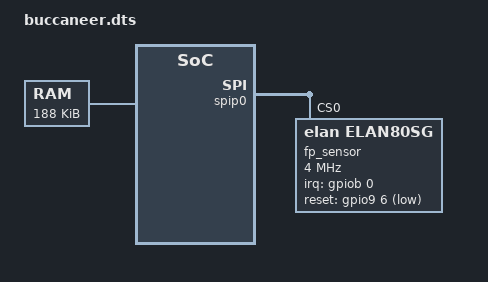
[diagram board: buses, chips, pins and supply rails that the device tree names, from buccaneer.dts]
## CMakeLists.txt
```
# Copyright 2025 The ChromiumOS Authors
# Use of this source code is governed by a BSD-style license that can be
# found in the LICENSE file.

zephyr_library_sources("../common.c")
zephyr_library_sources_ifdef(CONFIG_HELIPILOT_EC_RO_QUIRKS "src/ec_quirks.c")
zephyr_library_sources_ifdef(CONFIG_EC_HOST_CMD "src/fp_transport.c")
zephyr_library_sources("src/power.c")
```

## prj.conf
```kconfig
# Copyright 2025 The ChromiumOS Authors
# Use of this source code is governed by a BSD-style license that can be
# found in the LICENSE file.

CONFIG_BASEBOARD_HELIPILOT=y

# System Controller drivers
CONFIG_SYSCON=y
CONFIG_SYS_CLOCK_HW_CYCLES_PER_SEC=16000000

# NPCX Flash driver options
CONFIG_FLASH_JESD216_API=y
CONFIG_FLASH_EX_OP_ENABLED=y
CONFIG_CROS_FLASH_NPCX_ERASE_SIZE=0x10000

# NPCX entropy driver options
CONFIG_ENTROPY_GENERATOR=y
CONFIG_ENTROPY_NPCX_DRBG_RESEED_INTERVAL=4294967295

# Set security strength to 256b
CONFIG_ENTROPY_NPCX_DRBG_SECURITY_STRENGTH_256B=y

# Enable OTP Key
CONFIG_NPCX_OTP_KEY=y

# Watchdog
CONFIG_PLATFORM_EC_WATCHDOG_PERIOD_MS=10000
CONFIG_WDT_NPCX_WARNING_LEADING_TIME_MS=3000

# RTC
CONFIG_PLATFORM_EC_RTC=y

# Disable flash shell for helipilot to save space
CONFIG_FLASH_SHELL=n

# Disable math util to save space
CONFIG_PLATFORM_EC_MATH_UTIL=n

# Disable assert to save space
CONFIG_PLATFORM_EC_DEBUG_ASSERT=n

# Host Commands
CONFIG_EC_HOST_CMD_INITIALIZE_AT_BOOT=n
CONFIG_EC_HOST_CMD_HANDLER_TX_BUFFER_SIZE=549
CONFIG_EC_HOST_CMD_HANDLER_RX_BUFFER_SIZE=544
CONFIG_UART_ASYNC_API=y
CONFIG_UART_NPCX_USE_MDMA=y

# When HW_STACK_PROTECTION is enabled, the NULL pointer exception page size
# (CONFIG_CORTEX_M_NULL_POINTER_EXCEPTION_PAGE_SIZE)
# must have size greater or equal ARM_MPU_REGION_MIN_ALIGN_AND_SIZE (0x80).
# However that MPU configuration prevents access to the NPCX ROM functions at
# address 0x40-x0x5c.
#
# In order to keep HW_STACK_PROTECTION enabled, enable NULL pointer exception
# detection via the Data Watchpoint and Trace (DWT) unit.
CONFIG_NULL_POINTER_EXCEPTION_DETECTION_DWT=y

# Helipilot specific CROS EC sizes
CONFIG_CROS_EC_RO_SIZE=0x1F000

# b/427468960#comment10: sysworkq task overflows when handling Host Commands
# HC 0x0122 (EC_CMD_ADD_ENTROPY) and HC 0x0406 (EC_CMD_FP_CONTEXT)
CONFIG_SYSTEM_WORKQUEUE_STACK_SIZE=2048

# Enable runtime power management for devices
# Used in ec_host_cmd_backend_shi_npcx.c. Also see
# https://github.com/zephyrproject-rtos/zephyr/pull/92567.
CONFIG_PM_DEVICE_RUNTIME=y

# Enable NPCX RAM Lock
CONFIG_NPCX_RAM_LOCK=y

# Enable SHI shim initialization via SYS_INIT for earlier execution,
# which is required to prevent a race condition with the host command
# EC_CMD_RWSIG_ACTION (0x011d) during boot/sysjump. See b/427468960.
CONFIG_NPCX_SHI_SHIM_INIT_WITH_SYS_INIT=y
```

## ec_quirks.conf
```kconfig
# Copyright 2024 The ChromiumOS Authors
# Use of this source code is governed by a BSD-style license that can be
# found in the LICENSE file.

CONFIG_HELIPILOT_EC_RO_QUIRKS=y
```

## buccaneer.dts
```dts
/* Copyright 2025 The ChromiumOS Authors.
 * Use of this source code is governed by a BSD-style license that can be
 * found in the LICENSE file.
 */

#include "soc.dtsi"
#include "gpio.dtsi"
#include "buccaneer/rwsig.dtsi"

#include <cros/integrated_fwid.dtsi>

#define ELAN80SG_COMMON_IMAGE_PROPS \
    width = <80>; \
    height = <80>; \
	bits-per-pixel = <14>; \
	frame-size = <12800>; \
    v4l2-pixel-format = "V4L2_PIX_FMT_GREY";

/ {
	chosen {
		cros-fp,fingerprint-sensor = &fp_sensor;
		zephyr,host-cmd-shi-backend = &shi0;
		zephyr,host-cmd-uart-backend = &uart2;
		zephyr,shell-uart = &uart1;
		cros,rtc = &mtc;
	};

	binman {
		pad-byte = <0xff>;

		/* Total Flash size is 1 MB. */
		size = <0x100000>;

		/* First 128 kB (uniform 4 kB sectors) used for RO */
		wp-ro {
			offset = <0x0>;
			size = <0x20000>;
			ec-ro {
				pad-byte = <0xff>;
			};
		};

		/* Two rollback sections (64 kB each) */
		rollback0 {
			offset = <0x20000>;
			size = <0x10000>;
			type = "blob";
			filename = "../build-rw/rollback_initial_data.bin";
		};

		rollback1 {
			offset = <0x30000>;
			size = <0x10000>;
			type = "blob";
			filename = "../build-rw/rollback_initial_data.bin";
		};

		/* 320 kB used for RW - buccaneer ECOS flash size */
		ec-rw {
			offset = <0x40000>;
			size = <0x50000>;
			rw-fw {
				/*
				 * Clang doesn't emit STT_SECTION symbols (also
				 * called 'section symbols'), so 'rom_start'
				 * symbol is not available. Fortunately, Zephyr
				 * linker scripts provide '__rom_start_address'
				 * symbol which points to the beginning of
				 * 'rom_start' section.
				 */
				zephyr-rw {
					elf-base-sym = "__rom_start_address";
				};
			};
		};
	};
};

/*
 *           ┌──────────────┐
 *           │   Reserved   │
 *           │     4KB      │
 *           ├──────────────┤0x200D7000
 *           │              │
 *           │              │
 *           │   Data RAM   │
 *           │     188KB    │
 *           │              │
 *           │              │
 * 0x100A8000├──────────────┤0x200A8000
 *           │              │
 *           │              │
 *           │              │
 *           │              │
 *           │   Code RAM   │
 *           │     320KB    │
 *           │              │
 *           │              │
 *           │              │
 *           │              │
 *           │              │
 * 0x10058000└──────────────┘
 */
&flash0 {
    reg = <0x10058000 DT_SIZE_K(320)>;
};

/delete-node/ &sram0;

/ {
	sram0: memory@200a8000 {
		compatible = "mmio-sram";
		reg = <0x200A8000 DT_SIZE_K(188)>;
	};
};

&qspi_fiu0 {
	partitions {
		compatible = "fixed-partitions";
		#address-cells = <1>;
		#size-cells = <1>;

		/* First rollback section */
		rollback0: partition@20000 {
			label = "rollback0";
			reg = <0x20000 DT_SIZE_K(64)>;
		};

		/* Second rollback section */
		rollback1: partition@30000 {
			label = "rollback1";
			reg = <0x30000 DT_SIZE_K(64)>;
		};
	};
};

&spip0 {
	fp_sensor: elan80sg@0 {
		compatible = "elan,elan80sg";
		reg = <0>;
		spi-max-frequency = <4000000>;

		configs {
			compatible = "fingerprint-image-frame-params";
			config0 {
				ELAN80SG_COMMON_IMAGE_PROPS
				capture-type = "FINGERPRINT_CAPTURE_TYPE_VENDOR_FORMAT";
			};
			config1 {
				ELAN80SG_COMMON_IMAGE_PROPS
				capture-type = "FINGERPRINT_CAPTURE_TYPE_SIMPLE_IMAGE";
			};
			config2 {
				ELAN80SG_COMMON_IMAGE_PROPS
				capture-type = "FINGERPRINT_CAPTURE_TYPE_PATTERN0";
			};
			config3 {
				ELAN80SG_COMMON_IMAGE_PROPS
				capture-type = "FINGERPRINT_CAPTURE_TYPE_PATTERN1";
			};
			config4 {
				ELAN80SG_COMMON_IMAGE_PROPS
				capture-type = "FINGERPRINT_CAPTURE_TYPE_QUALITY_TEST";
			};
			config5 {
				ELAN80SG_COMMON_IMAGE_PROPS
				capture-type = "FINGERPRINT_CAPTURE_TYPE_RESET_TEST";
			};
		};

		irq-gpios = <&gpiob 0 GPIO_ACTIVE_HIGH>;
		reset-gpios = <&gpio9 6 GPIO_ACTIVE_LOW>;
	};
};
```

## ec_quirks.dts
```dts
/* Copyright 2023 The ChromiumOS Authors.
 * Use of this source code is governed by a BSD-style license that can be
 * found in the LICENSE file.
 */

/*
 * Old FPMCU RO (EC based) uses TIM2 to measure system uptime and schedule
 * tasks. Zephyr uses different counter for these purposes, but we still want to
 * enable TIM2, because FPMCU RO doesn't stop the counter. If the counter is
 * enabled, Zephyr will perform initialization, so we won't get any unexpected
 * interrupts.
 */
/*
 *&timers2 {
 *	status = "okay";
 *	counter {
 *		status = "okay";
 *	};
 *};
 */
```

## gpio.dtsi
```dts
/* Copyright 2025 The ChromiumOS Authors.
 * Use of this source code is governed by a BSD-style license that can be
 * found in the LICENSE file.
 */

#include <dt-bindings/gpio_defines.h>

/ {
	aliases {
		gpio-wp = &ec_wp_l;
	};

	named-gpios {
		compatible = "named-gpios";

		ap_ec_int_l {
			gpios = <&gpioa 7 GPIO_OUTPUT_HIGH>;
			enum-name = "GPIO_EC_INT_L";
		};

		ec_wp_l: write-protect {
			gpios = <&gpioa 4 GPIO_INPUT>;
		};

		fp_sensor_sel: fp_sensor_sel {
			gpios = <&gpio4 4 GPIO_INPUT>;
		};

		slp_l: slp_l {
			gpios = <&gpioa 0 GPIO_INPUT>;
		};

		transport_sel: transport_sel {
			gpios = <&gpio4 3 GPIO_INPUT>;
		};

		user_pres_l {
			gpios = <&gpioa 5 GPIO_ODR_HIGH>;
		};

		/* Used to the transport layer detection at the beginning of the
		 * boot.
		 */
		div_highside: div_highside {
			gpios = <&gpio9 3 GPIO_OUTPUT_HIGH>;
		};

		/* unimplemented GPIOs */
		entering-rw {
			enum-name = "GPIO_ENTERING_RW";
		};
	};
};
```

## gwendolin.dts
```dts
/* Copyright 2025 The ChromiumOS Authors.
 * Use of this source code is governed by a BSD-style license that can be
 * found in the LICENSE file.
 */

#include "gpio.dtsi"
#include "gwendolin/rwsig.dtsi"
#include "soc.dtsi"

#include <cros/integrated_fwid.dtsi>

/ {
	chosen {
		cros-fp,fingerprint-sensor = &fp_sensor;
		zephyr,host-cmd-shi-backend = &shi0;
		zephyr,host-cmd-uart-backend = &uart2;
		zephyr,shell-uart = &uart1;
		cros,rtc = &mtc;
	};

	binman {
		pad-byte = <0xff>;

		/* Total Flash size is 1 MB. */
		size = <0x100000>;

		/* First 128 kB (uniform 4 kB sectors) used for RO */
		wp-ro {
			offset = <0x0>;
			size = <0x20000>;
			ec-ro {
				pad-byte = <0xff>;
			};
		};

		/* Two rollback sections (64 kB each) */
		rollback0 {
			offset = <0x20000>;
			size = <0x10000>;
			type = "blob";
			filename = "../build-rw/rollback_initial_data.bin";
		};

		rollback1 {
			offset = <0x30000>;
			size = <0x10000>;
			type = "blob";
			filename = "../build-rw/rollback_initial_data.bin";
		};

		/* 256 kB used for RW - gwendolin ECOS flash size */
		ec-rw {
			offset = <0x40000>;
			size = <0x40000>;
			rw-fw {
				/*
				 * Clang doesn't emit STT_SECTION symbols (also
				 * called 'section symbols'), so 'rom_start'
				 * symbol is not available. Fortunately, Zephyr
				 * linker scripts provide '__rom_start_address'
				 * symbol which points to the beginning of
				 * 'rom_start' section.
				 */
				zephyr-rw {
					elf-base-sym = "__rom_start_address";
				};
			};
		};
	};
};

/*
 *           ┌──────────────┐
 *           │   Reserved   │
 *           │     4KB      │
 *           ├──────────────┤0x200D7000
 *           │              │
 *           │              │
 *           │   Data RAM   │
 *           │     252KB    │
 *           │              │
 *           │              │
 * 0x10098000├──────────────┤0x20098000
 *           │              │
 *           │              │
 *           │              │
 *           │              │
 *           │   Code RAM   │
 *           │     256KB    │
 *           │              │
 *           │              │
 *           │              │
 *           │              │
 *           │              │
 * 0x10058000└──────────────┘
 */
&flash0 {
    reg = <0x10058000 DT_SIZE_K(256)>;
};

/delete-node/ &sram0;

/ {
	sram0: memory@20098000{
		compatible = "mmio-sram";
		reg = <0x20098000 DT_SIZE_K(252)>;
	};
};

&qspi_fiu0 {
	partitions {
		compatible = "fixed-partitions";
		#address-cells = <1>;
		#size-cells = <1>;

		/* First rollback section */
		rollback0: partition@20000 {
			label = "rollback0";
			reg = <0x20000 DT_SIZE_K(64)>;
		};

		/* Second rollback section */
		rollback1: partition@30000 {
			label = "rollback1";
			reg = <0x30000 DT_SIZE_K(64)>;
		};
	};
};

&spip0 {
	fp_sensor: egis630@0 {
		compatible = "egis,egis630";
		reg = <0>;
		spi-max-frequency = <4000000>;

		width = <80>;
		height = <64>;
		bits-per-pixel = <8>;
		v4l2-pixel-format = "V4L2_PIX_FMT_GREY";

		irq-gpios = <&gpiob 0 GPIO_ACTIVE_HIGH>;
		reset-gpios = <&gpio9 6 GPIO_ACTIVE_LOW>;
	};
};
```

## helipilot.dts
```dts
/* Copyright 2025 The ChromiumOS Authors.
 * Use of this source code is governed by a BSD-style license that can be
 * found in the LICENSE file.
 */

#include "soc.dtsi"
#include "gpio.dtsi"
#include "rwsig.dtsi"

#include <cros/integrated_fwid.dtsi>

#define FPC1025_BASE_IMAGE_PROPS \
    width = <160>; \
    height = <160>; \
    bits-per-pixel = <8>; \
    v4l2-pixel-format = "V4L2_PIX_FMT_GREY";

#define FPC1025_RAW_IMAGE_PROPS \
    FPC1025_BASE_IMAGE_PROPS \
    /*
     * Sensor raw image size
     *
     * Value from fpc_bep_image_get_buffer_size(): (160*160)+660
     */ \
    frame-size = <26260>;

#define FPC1025_REAL_IMAGE_PROPS \
    FPC1025_BASE_IMAGE_PROPS \
    /* Sensor real image size: (160*160) */ \
    frame-size = <25600>;

/ {
	chosen {
		cros-fp,fingerprint-sensor = &fp_sensor;
		zephyr,host-cmd-shi-backend = &shi0;
		zephyr,host-cmd-uart-backend = &uart2;
		zephyr,shell-uart = &uart1;
		cros,rtc = &mtc;
	};

	binman {
		pad-byte = <0xff>;

		/* Total Flash size is 1 MB. */
		size = <0x100000>;

		/* First 128 kB (uniform 4 kB sectors) used for RO */
		wp-ro {
			offset = <0x0>;
			size = <0x20000>;
			ec-ro {
				pad-byte = <0xff>;
			};
		};

		/* Two rollback sections (64 kB each) */
		rollback0 {
			offset = <0x20000>;
			size = <0x10000>;
			type = "blob";
			filename = "../build-rw/rollback_initial_data.bin";
		};

		rollback1 {
			offset = <0x30000>;
			size = <0x10000>;
			type = "blob";
			filename = "../build-rw/rollback_initial_data.bin";
		};

		/* 320 kB used for RW - helipilot ECOS flash size */
		ec-rw {
			offset = <0x40000>;
			size = <0x50000>;
			rw-fw {
				/*
				 * Clang doesn't emit STT_SECTION symbols (also
				 * called 'section symbols'), so 'rom_start'
				 * symbol is not available. Fortunately, Zephyr
				 * linker scripts provide '__rom_start_address'
				 * symbol which points to the beginning of
				 * 'rom_start' section.
				 */
				zephyr-rw {
					elf-base-sym = "__rom_start_address";
				};
			};
		};
	};
};

/*
 * Due to a rounding bug in ECOS helipilot, the size of RW now baked into
 * RO is 320 kB (0x50000). This change updates the code RAM to 320 kB
 * correspondingly, freeing up additional data memory. This results in the
 * following memory map for Zephyr Helipilot:
 *
 *           ┌──────────────┐
 *           │   Reserved   │
 *           │     4KB      │
 *           ├──────────────┤0x200D7000
 *           │              │
 *           │              │
 *           │   Data RAM   │
 *           │     188KB    │
 *           │              │
 *           │              │
 * 0x100A8000├──────────────┤0x200A8000
 *           │              │
 *           │              │
 *           │              │
 *           │              │
 *           │   Code RAM   │
 *           │     320KB    │
 *           │              │
 *           │              │
 *           │              │
 *           │              │
 *           │              │
 * 0x10058000└──────────────┘
 */
&flash0 {
    reg = <0x10058000 DT_SIZE_K(320)>;
};

/delete-node/ &sram0;

/ {
	sram0: memory@200a8000 {
		compatible = "mmio-sram";
		reg = <0x200A8000 DT_SIZE_K(188)>;
	};
};

&qspi_fiu0 {
	partitions {
		compatible = "fixed-partitions";
		#address-cells = <1>;
		#size-cells = <1>;

		/* First rollback section */
		rollback0: partition@20000 {
			label = "rollback0";
			reg = <0x20000 DT_SIZE_K(64)>;
		};

		/* Second rollback section */
		rollback1: partition@30000 {
			label = "rollback1";
			reg = <0x30000 DT_SIZE_K(64)>;
		};
	};
};

&spip0 {
	fp_sensor: fpc1025@0 {
		compatible = "fpc,fpc1025";
		reg = <0>;
		spi-max-frequency = <4000000>;


		configs {
			compatible = "fingerprint-image-frame-params";
			config0 {
				FPC1025_RAW_IMAGE_PROPS
				capture-type = "FINGERPRINT_CAPTURE_TYPE_VENDOR_FORMAT";
			};
			config1 {
				FPC1025_REAL_IMAGE_PROPS
				capture-type = "FINGERPRINT_CAPTURE_TYPE_SIMPLE_IMAGE";
			};
			config2 {
				FPC1025_REAL_IMAGE_PROPS
				capture-type = "FINGERPRINT_CAPTURE_TYPE_PATTERN0";
			};
			config3 {
				FPC1025_REAL_IMAGE_PROPS
				capture-type = "FINGERPRINT_CAPTURE_TYPE_PATTERN1";
			};
			config4 {
				FPC1025_RAW_IMAGE_PROPS
				capture-type = "FINGERPRINT_CAPTURE_TYPE_QUALITY_TEST";
			};
			config5 {
				FPC1025_REAL_IMAGE_PROPS
				capture-type = "FINGERPRINT_CAPTURE_TYPE_RESET_TEST";
			};
		};

		irq-gpios = <&gpiob 0 GPIO_ACTIVE_HIGH>;
		reset-gpios = <&gpio9 6 GPIO_ACTIVE_LOW>;
	};
};
```

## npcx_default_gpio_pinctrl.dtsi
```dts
/* Copyright 2025 The ChromiumOS Authors
 * Use of this source code is governed by a BSD-style license that can be
 * found in the LICENSE file.
 */

/* Adds the &alt1_no_lpc_espi setting over the NPCX9 default setting. */
&{/def-io-conf-list} {
	pinmux = <&alt0_gpio_no_spip
		  &alt0_gpio_no_fpip
		  &alt1_no_pwrgd
		  &alt1_no_lpc_espi
		  &alta_no_peci_en
		  &altd_npsl_in1_sl
		  &altd_npsl_in2_sl
		  &altd_psl_in3_sl
		  &altd_psl_in4_sl
		  &alt7_no_ksi0_sl
		  &alt7_no_ksi1_sl
		  &alt7_no_ksi2_sl
		  &alt7_no_ksi3_sl
		  &alt7_no_ksi4_sl
		  &alt7_no_ksi5_sl
		  &alt7_no_ksi6_sl
		  &alt7_no_ksi7_sl
		  &alt8_no_kso00_sl
		  &alt8_no_kso01_sl
		  &alt8_no_kso02_sl
		  &alt8_no_kso03_sl
		  &alt8_no_kso04_sl
		  &alt8_no_kso05_sl
		  &alt8_no_kso06_sl
		  &alt8_no_kso07_sl
		  &alt9_no_kso08_sl
		  &alt9_no_kso09_sl
		  &alt9_no_kso10_sl
		  &alt9_no_kso11_sl
		  &alt9_no_kso12_sl
		  &alt9_no_kso13_sl
		  &alt9_no_kso14_sl
		  &alt9_no_kso15_sl
		  &alta_no_kso16_sl
		  &alta_no_kso17_sl
		  &altg_psl_gpo_sl>;
};
```

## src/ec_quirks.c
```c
/* Copyright 2025 The ChromiumOS Authors
 * Use of this source code is governed by a BSD-style license that can be
 * found in the LICENSE file.
 */

#include "hooks.h"

#include <zephyr/devicetree.h>
#include <zephyr/drivers/clock_control.h>

#define ITIM5_NODE DT_NODELABEL(itim5)

extern void arm_core_mpu_disable(void);

/* TODO(b/394346384): De-duplicate with bloonchipper code */
static void prepare_for_sysjump_to_ec(void)
{
	/*
	 * When HW_STACK_PROTECTION is enabled on ARMv7-M microcontroller then
	 * the last 64 bytes of the stack is protected to detect stack
	 * overflows. Size of protected region must be greater than exception
	 * frame, so CPU won't overwrite some other data when exception occurs.
	 *
	 * EC uses different RAM layout than Zephyr, so it's possible that after
	 * sysjump some variables are stored in the protected region. EC also
	 * reconfigures MPU late (Zephyr does it in reset handler).
	 *
	 * Disable MPU protection to avoid problems after sysjump to EC.
	 */
	arm_core_mpu_disable();
}
DECLARE_HOOK(HOOK_SYSJUMP, prepare_for_sysjump_to_ec, HOOK_PRIO_LAST);

/*
 * Old FPMCU RO (EC based) uses ITIM32-5 as a watchdog warning to save the
 * CPU state before the real watchdog resets it. Zephyr uses different counter
 * for these purposes, so disable it.
 */
static const struct npcx_clk_cfg itim5_clk_cfg = {
	.bus = DT_CLOCKS_CELL_BY_IDX(ITIM5_NODE, 0, bus),
	.ctrl = DT_CLOCKS_CELL_BY_IDX(ITIM5_NODE, 0, ctl),
	.bit = DT_CLOCKS_CELL_BY_IDX(ITIM5_NODE, 0, bit),
};

static int disable_itim5(void)
{
	static struct itim32_reg *const itim5_reg =
		(struct itim32_reg *)DT_REG_ADDR(ITIM5_NODE);

	irq_disable(DT_IRQN(ITIM5_NODE));

	itim5_reg->ITCTS32 &= ~BIT(NPCX_ITCTSXX_ITEN);

	clock_control_off(DEVICE_DT_GET(NPCX_CLK_CTRL_NODE),
			  (clock_control_subsys_t)&itim5_clk_cfg);

	return 0;
}
SYS_INIT(disable_itim5, POST_KERNEL, CONFIG_APPLICATION_INIT_PRIORITY);
```

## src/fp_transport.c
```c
/* Copyright 2025 The ChromiumOS Authors
 * Use of this source code is governed by a BSD-style license that can be
 * found in the LICENSE file.
 */

#include <zephyr/device.h>
#include <zephyr/devicetree.h>
#include <zephyr/drivers/gpio.h>
#include <zephyr/init.h>
#include <zephyr/kernel.h>
#include <zephyr/mgmt/ec_host_cmd/ec_host_cmd.h>
#include <zephyr/pm/device.h>

#include <ec_commands.h>
#include <fpsensor/fpsensor_detect.h>
#include <gpio_signal.h>

extern void shi_enable(void);

#if !defined(CONFIG_EC_HOST_CMD_BACKEND_SHI) && \
	!defined(CONFIG_EC_HOST_CMD_BACKEND_UART)
BUILD_ASSERT(0, "Both backends are not enabled");
#endif

#ifndef CONFIG_EC_HOST_CMD_INITIALIZE_AT_BOOT
test_export_static int fp_transport_init(void)
{
#ifdef CONFIG_EC_HOST_CMD_BACKEND_UART
	const struct device *const dev_uart =
		DEVICE_DT_GET(DT_CHOSEN(zephyr_host_cmd_uart_backend));
#endif /* CONFIG_EC_HOST_CMD_BACKEND_UART */
#ifdef CONFIG_EC_HOST_CMD_BACKEND_SHI
	const struct device *const dev_shi =
		DEVICE_DT_GET(DT_CHOSEN(zephyr_host_cmd_shi_backend));
#endif /* CONFIG_EC_HOST_CMD_BACKEND_SPI */

	switch (get_fp_transport_type()) {
	case FP_TRANSPORT_TYPE_UART:
#ifdef CONFIG_EC_HOST_CMD_BACKEND_SHI
		pm_device_action_run(dev_shi, PM_DEVICE_ACTION_SUSPEND);
#endif /* CONFIG_EC_HOST_CMD_BACKEND_SHI */
#ifdef CONFIG_EC_HOST_CMD_BACKEND_UART
		ec_host_cmd_init(ec_host_cmd_backend_get_uart(dev_uart));
#endif /* CONFIG_EC_HOST_CMD_BACKEND_UART */

		break;
	case FP_TRANSPORT_TYPE_SPI:
#ifdef CONFIG_EC_HOST_CMD_BACKEND_UART
		pm_device_action_run(dev_uart, PM_DEVICE_ACTION_SUSPEND);
#endif /* CONFIG_EC_HOST_CMD_BACKEND_UART */
#ifdef CONFIG_EC_HOST_CMD_BACKEND_SHI
		ec_host_cmd_init(ec_host_cmd_backend_get_shi_npcx());
		shi_enable();
#endif /* CONFIG_EC_HOST_CMD_BACKEND_SHI */

		break;
	default:
		break;
	}

	return 0;
}
SYS_INIT(fp_transport_init, POST_KERNEL, CONFIG_EC_HOST_CMD_INIT_PRIORITY);
#endif
```

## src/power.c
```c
/* Copyright 2025 The ChromiumOS Authors
 * Use of this source code is governed by a BSD-style license that can be
 * found in the LICENSE file.
 */

#include "fpsensor/fpsensor_detect.h"
#include "hooks.h"

#include <zephyr/device.h>
#include <zephyr/devicetree.h>
#include <zephyr/drivers/gpio.h>
#include <zephyr/init.h>
#include <zephyr/kernel.h>
#include <zephyr/pm/device.h>
#include <zephyr/pm/policy.h>

static struct k_work slp_event_work;
static struct gpio_callback slp_event_callback;

/* TODO(b/394346384): De-duplicate with bloonchipper code */

static void slp_event_handler(struct k_work *work)
{
	static bool suspend_allowed = true;

	int running = gpio_pin_get_dt(GPIO_DT_FROM_NODELABEL(slp_l));

	if (running) { /* S0 */
		if (suspend_allowed) {
			pm_policy_state_lock_get(PM_STATE_SUSPEND_TO_IDLE,
						 PM_ALL_SUBSTATES);
			suspend_allowed = false;
		}
		/* Added for compatibility with CrosEC, even if there are no
		 * consumers for this signal.
		 */
		hook_notify(HOOK_CHIPSET_RESUME);
	} else { /* S0ix/S3 */
		hook_notify(HOOK_CHIPSET_SUSPEND);
		if (!suspend_allowed) {
			pm_policy_state_lock_put(PM_STATE_SUSPEND_TO_IDLE,
						 PM_ALL_SUBSTATES);
			suspend_allowed = true;
		}
	}
}

static void slp_event_isr(const struct device *port, struct gpio_callback *cb,
			  gpio_port_pins_t pins)
{
	/* Use k_work to call hook_notify */
	k_work_submit(&slp_event_work);
}

static int slp_event_init(void)
{
	k_work_init(&slp_event_work, slp_event_handler);

	/* Enable and configure interrupts for both sleep pins */
	gpio_init_callback(&slp_event_callback, slp_event_isr,
			   BIT(GPIO_DT_FROM_NODELABEL(slp_l)->pin));
	gpio_add_callback_dt(GPIO_DT_FROM_NODELABEL(slp_l),
			     &slp_event_callback);
	gpio_pin_interrupt_configure_dt(GPIO_DT_FROM_NODELABEL(slp_l),
					GPIO_INT_EDGE_BOTH);

	/*
	 * Get init state of the sleep pins.
	 * The timing of getting the initial state is critical for enabling the
	 * SHI host command driver. Using k_work_submit(&slp_event_work) defers
	 * SHI enable to the lowest-priority system workqueue thread, which is
	 * too late and may cause three consecutive retry errors for the host
	 * command 0x011d. See b/427468960#110 for details.
	 */
	slp_event_handler(NULL);

	return 0;
}
SYS_INIT(slp_event_init, POST_KERNEL, CONFIG_APPLICATION_INIT_PRIORITY);

static int gpio_init(void)
{
	const struct device *dev_gpioc = DEVICE_DT_GET(DT_NODELABEL(gpioc));

	pm_device_action_run(dev_gpioc, PM_DEVICE_ACTION_SUSPEND);

	return 0;
}
SYS_INIT(gpio_init, POST_KERNEL, CONFIG_APPLICATION_INIT_PRIORITY);
```
